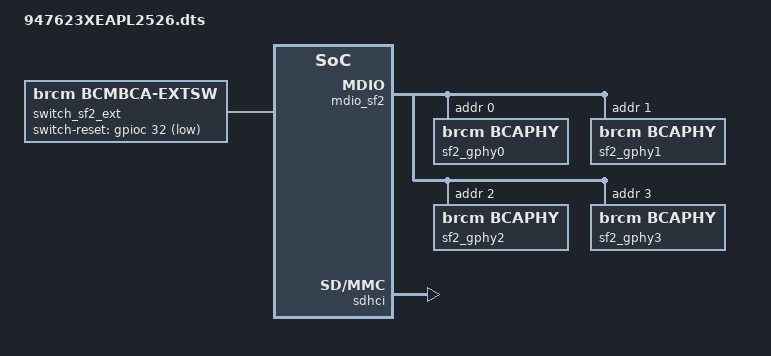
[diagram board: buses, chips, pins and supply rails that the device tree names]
#include "6756.dtsi"

/ {
	memory_controller {
		memcfg = <(BP_DDR_TYPE_DDR4           | \
			BP_DDR_SPEED_1067_15_15_15 | \
			BP_DDR_TOTAL_SIZE_2048MB   | \
			BP_DDR_DEVICE_WIDTH_8      | \
			BP_DDR_TOTAL_WIDTH_16BIT   | \
			BP_DDR_6756_DEFAULT)>;
	};

	buttons {
		compatible = "brcm,buttons";
		ses_button {
			ext_irq = <&bca_extintr 4 GPIO_ACTIVE_LOW (BCA_EXTINTR_TYPE_LOW_LEVEL | BCA_EXTINTR_TYPE_SENSE_EDGE)>;
			release {
				ses_short_period = <0>;
				ses_long_period = <3>;
			};
		};
	};
	switch_sf2_ext:0 {
	};
};

&sysport {
    ethsw_ext = <&switch_sf2_ext>;
};

&mdio_sf2 {
	phy_cascade0:cascade0 {
		reg = <9>;
		phy-reset = <&gpioc 33 GPIO_ACTIVE_LOW>;
		enet-phy-lane-swap;
		status = "okay";
	};
	phy_serdes0:serdes0 {
		phy-handle = <&phy_cascade0>;
		status = "okay";    /* HSGMII 5GE */
	};
	phy_serdes1:serdes1 {
		phy-extswitch;
		config_speed = <2500>;
		status = "okay";
	};
	/* PHYs on external SF2 switch */
	sf2_gphy0:0 {
		compatible = "brcm,bcaphy";
		phy-type = "EGPHY";
		reg = <0>;
		status = "okay";
	};
	sf2_gphy1:1 {
		compatible = "brcm,bcaphy";
		phy-type = "EGPHY";
		reg = <1>;
		status = "okay";
	};
	sf2_gphy2:2 {
		compatible = "brcm,bcaphy";
		phy-type = "EGPHY";
		reg = <2>;
		status = "okay";
	};
	sf2_gphy3:3 {
		compatible = "brcm,bcaphy";
		phy-type = "EGPHY";
		reg = <3>;
		status = "okay";
	};
};

&switch0 {
	pinctrl-names = "default";
	pinctrl-0 = <&a_rgmii_mdc_pin_68 &a_rgmii_mdio_pin_69>;

	ports {
		port5@5 {
			phy-handle = <&phy_serdes0>;
			status = "okay";
		};
		port6@6 {
			phy-handle = <&phy_serdes1>;
			link = <&switch_sf2_ext>;           /* root.p1 <--> sf2_ext.p8 */
			shrink-ipg;
			status = "okay";
		};
	};
};

&switch_sf2_ext {                       /* linux/uboot: external sf2 */
	unit = <1>;
	sw-type = "SF2_SW";

	compatible = "brcm,bcmbca-extsw";
	extswsgmii_addr = <0x7>;
	switch-reset = <&gpioc 32 GPIO_ACTIVE_LOW>;

	ports {
		#address-cells = <1>;
		#size-cells = <0>;

		sf2_port0@0 {
			phy-handle = <&sf2_gphy0>;
			reg = <0>;
			mac-type = "SF2MAC";
			phy-mode = "gmii";
			gmii-direct;
			status = "okay";
		};
		sf2_port1@1 {
			phy-handle = <&sf2_gphy1>;
			reg = <1>;
			mac-type = "SF2MAC";
			phy-mode = "gmii";
			gmii-direct;
			status = "okay";
		};
		sf2_port2@2 {
			phy-handle = <&sf2_gphy2>;
			reg = <2>;
			mac-type = "SF2MAC";
			phy-mode = "gmii";
			gmii-direct;
			status = "okay";
		};
		sf2_port3@3 {
			phy-handle = <&sf2_gphy3>;
			reg = <3>;
			mac-type = "SF2MAC";
			phy-mode = "gmii";
			gmii-direct;
			status = "okay";
		};
		sf2_port8@8 {
			management;                     /* sf2_ext.p8 <--> root.p1 */
			reg = <8>;
			mac-type = "SF2MAC";
			shrink-ipg;
			phy-mode = "gmii";
			gmii-direct;
			status = "okay";
		};
	};
};

&sdhci {
	pinctrl-names="default";
	pinctrl-0 = <&emmc_ctrl_pins>;
	status = "okay";
};
